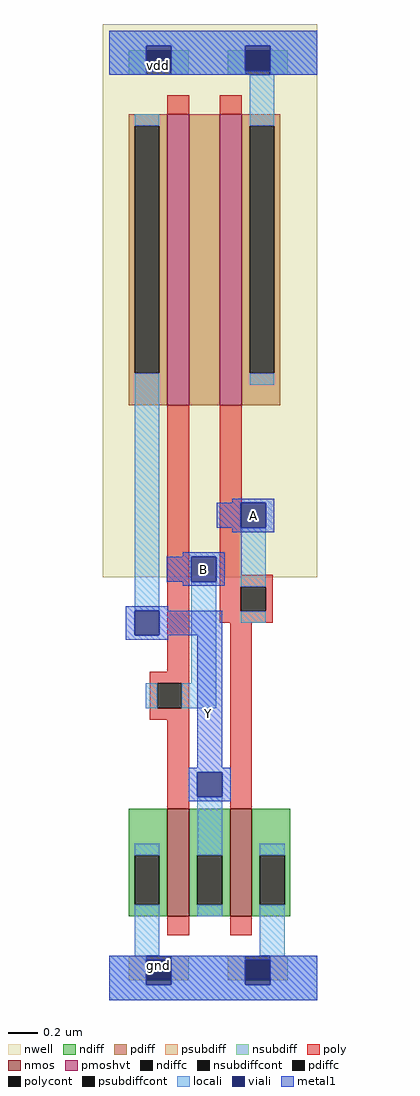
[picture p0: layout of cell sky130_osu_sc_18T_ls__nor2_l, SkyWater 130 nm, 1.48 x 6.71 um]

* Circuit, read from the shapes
.subckt sky130_osu_sc_18T_ls__nor2_l Y A B
XM1 Y B gnd gnd sky130_fd_pr__nfet_01v8 w=0.74 l=0.15
XM2 gnd A Y gnd sky130_fd_pr__nfet_01v8 w=0.74 l=0.15
XM3 n1 B Y vdd sky130_fd_pr__pfet_01v8_hvt w=2 l=0.15
XM4 vdd A n1 vdd sky130_fd_pr__pfet_01v8_hvt w=2 l=0.15
.ends

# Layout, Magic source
magic
tech sky130A
magscale 1 2
<< nwell >>
rect -9 581 286 1341
<< nmos >>
rect 80 115 110 263
rect 166 115 196 263
<< pmoshvt >>
rect 80 817 110 1217
rect 152 817 182 1217
<< ndiff >>
rect 27 199 80 263
rect 27 131 35 199
rect 69 131 80 199
rect 27 115 80 131
rect 110 199 166 263
rect 110 131 121 199
rect 155 131 166 199
rect 110 115 166 131
rect 196 199 249 263
rect 196 131 207 199
rect 241 131 249 199
rect 196 115 249 131
<< pdiff >>
rect 27 1201 80 1217
rect 27 861 35 1201
rect 69 861 80 1201
rect 27 817 80 861
rect 110 817 152 1217
rect 182 1201 235 1217
rect 182 861 193 1201
rect 227 861 235 1201
rect 182 817 235 861
<< ndiffc >>
rect 35 131 69 199
rect 121 131 155 199
rect 207 131 241 199
<< pdiffc >>
rect 35 861 69 1201
rect 193 861 227 1201
<< psubdiff >>
rect 27 27 51 61
rect 85 27 109 61
rect 163 27 187 61
rect 221 27 245 61
<< nsubdiff >>
rect 27 1271 51 1305
rect 85 1271 109 1305
rect 163 1271 187 1305
rect 221 1271 245 1305
<< psubdiffcont >>
rect 51 27 85 61
rect 187 27 221 61
<< nsubdiffcont >>
rect 51 1271 85 1305
rect 187 1271 221 1305
<< poly >>
rect 80 1217 110 1243
rect 152 1217 182 1243
rect 80 451 110 817
rect 152 584 182 817
rect 152 568 225 584
rect 152 534 181 568
rect 215 534 225 568
rect 152 518 225 534
rect 56 435 110 451
rect 56 401 66 435
rect 100 401 110 435
rect 56 385 110 401
rect 80 263 110 385
rect 166 263 196 518
rect 80 89 110 115
rect 166 89 196 115
<< polycont >>
rect 181 534 215 568
rect 66 401 100 435
<< locali >>
rect 0 1311 286 1332
rect 0 1271 51 1311
rect 85 1271 187 1311
rect 221 1271 286 1311
rect 35 1201 69 1217
rect 35 535 69 861
rect 193 1201 227 1271
rect 193 845 227 861
rect 113 435 147 575
rect 181 568 215 649
rect 181 518 215 534
rect 50 401 66 435
rect 100 401 147 435
rect 35 199 69 215
rect 35 61 69 131
rect 121 199 155 279
rect 121 115 155 131
rect 207 199 241 215
rect 207 61 241 131
rect 0 21 51 61
rect 85 21 187 61
rect 221 21 286 61
rect 0 0 286 21
<< viali >>
rect 51 1305 85 1311
rect 51 1277 85 1305
rect 187 1305 221 1311
rect 187 1277 221 1305
rect 181 649 215 683
rect 35 501 69 535
rect 113 575 147 609
rect 121 279 155 313
rect 51 27 85 55
rect 51 21 85 27
rect 187 27 221 55
rect 187 21 221 27
<< metal1 >>
rect 0 1311 286 1332
rect 0 1277 51 1311
rect 85 1277 187 1311
rect 221 1277 286 1311
rect 0 1271 286 1277
rect 169 683 227 689
rect 148 649 181 683
rect 215 649 227 683
rect 169 643 227 649
rect 101 609 159 615
rect 79 575 113 609
rect 147 575 159 609
rect 101 569 159 575
rect 23 535 81 541
rect 23 501 35 535
rect 69 501 155 535
rect 23 495 81 501
rect 121 319 155 501
rect 109 313 167 319
rect 109 279 121 313
rect 155 279 167 313
rect 109 273 167 279
rect 0 55 286 61
rect 0 21 51 55
rect 85 21 187 55
rect 221 21 286 55
rect 0 0 286 21
<< labels >>
rlabel metal1 137 393 137 393 1 Y
port 1 n
rlabel metal1 198 666 198 666 1 A
port 2 n
rlabel metal1 130 592 130 592 1 B
port 3 n
rlabel viali 68 48 68 48 1 gnd
rlabel viali 68 1284 68 1284 1 vdd
<< end >>
